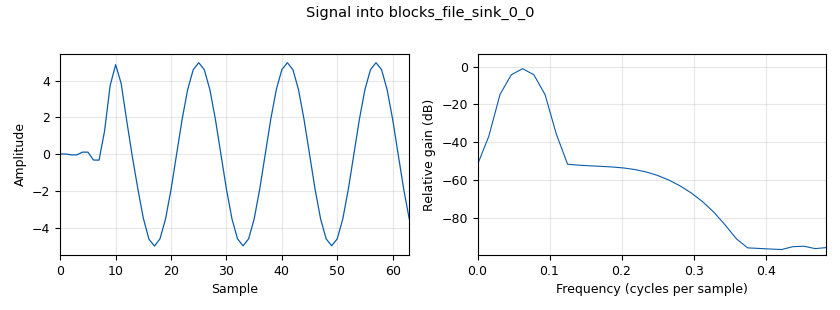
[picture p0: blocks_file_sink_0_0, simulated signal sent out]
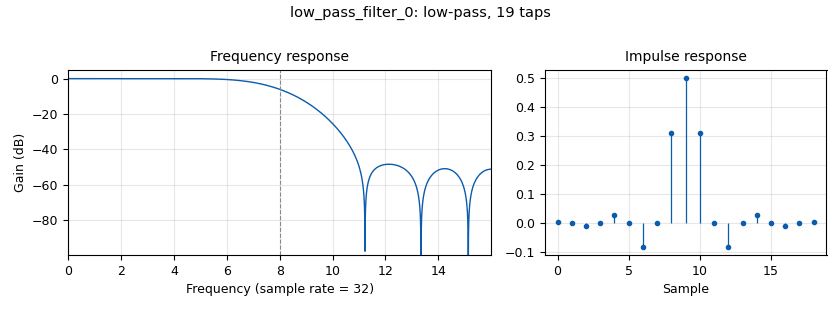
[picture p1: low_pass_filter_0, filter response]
options:
  parameters:
    generate_options: no_gui
    id: low_pass_filter
    output_language: python
    run_options: run
    title: Low Pass Filter
  states: {}

blocks:
- name: samp_rate
  id: variable
  parameters:
    value: '32'
  states: {}
- name: analog_const_source_x_0
  id: analog_const_source_x
  parameters:
    const: '1'
    type: float
  states: {}
- name: analog_sig_source_x_0
  id: analog_sig_source_x
  parameters:
    amp: '5'
    freq: '2'
    offset: '0'
    phase: '0'
    samp_rate: samp_rate
    type: float
    waveform: analog.GR_COS_WAVE
  states: {}
- name: blocks_file_sink_0
  id: blocks_file_sink
  parameters:
    file: lpf_constant_hamming.bin
    type: float
  states: {}
- name: blocks_file_sink_0_0
  id: blocks_file_sink
  parameters:
    file: lpf_cosine_hamming.bin
    type: float
  states: {}
- name: blocks_head_0
  id: blocks_head
  parameters:
    num_items: '32'
    type: float
  states: {}
- name: blocks_head_0_0
  id: blocks_head
  parameters:
    num_items: '64'
    type: float
  states: {}
- name: low_pass_filter_0
  id: low_pass_filter
  parameters:
    cutoff_freq: '8'
    decim: '1'
    gain: '1'
    samp_rate: samp_rate
    type: fir_filter_fff
    width: '4'
    win: firdes.WIN_HAMMING
  states: {}
- name: low_pass_filter_0_0
  id: low_pass_filter
  parameters:
    cutoff_freq: '8'
    decim: '1'
    gain: '1'
    samp_rate: samp_rate
    type: fir_filter_fff
    width: '4'
    win: firdes.WIN_HAMMING
  states: {}

connections:
- [analog_const_source_x_0, '0', low_pass_filter_0, '0']
- [analog_sig_source_x_0, '0', low_pass_filter_0_0, '0']
- [blocks_head_0, '0', blocks_file_sink_0, '0']
- [blocks_head_0_0, '0', blocks_file_sink_0_0, '0']
- [low_pass_filter_0, '0', blocks_head_0, '0']
- [low_pass_filter_0_0, '0', blocks_head_0_0, '0']

metadata:
  file_format: 1
